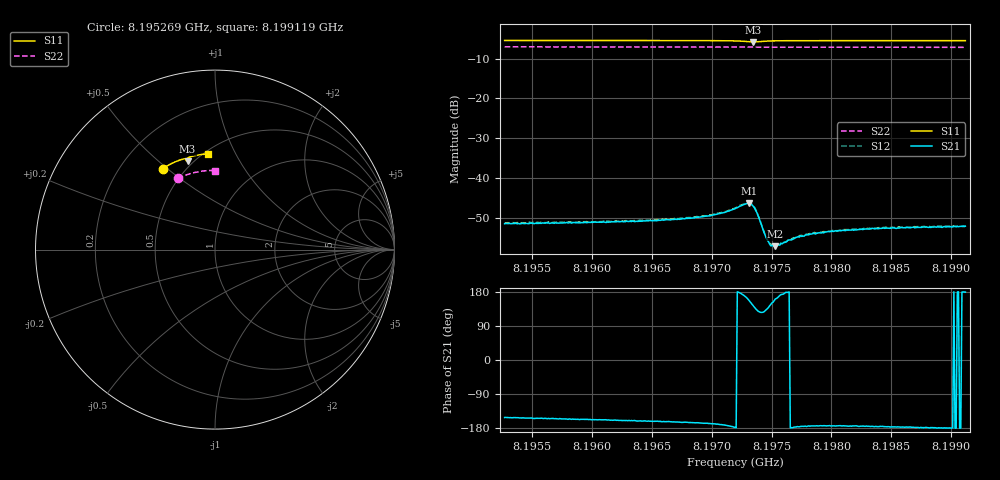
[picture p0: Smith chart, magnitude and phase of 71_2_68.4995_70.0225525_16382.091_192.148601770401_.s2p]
#  HZ  S  RI  R  50.00
! Rohde & Schwarz Vector Network Analyzer
! Rohde-Schwarz,ZNB20-2Port,1311601062101988,3.16
! Created: UTC 3/20/2024, 4:51:45 PM
! freq[Hz]  re:S11  im:S11  re:S21  im:S21  re:S12  im:S12  re:S22  im:S22
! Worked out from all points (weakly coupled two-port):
!   401 points, 8.195269 GHz to 8.199119 GHz, reference 50 ohm
!   highest |S21| = -46.41 dB at 8.19731 GHz (marker M1); lowest = -57.2 dB at 8.197531 GHz (marker M2)
!   lowest |S11| = -5.8 dB at 8.197348 GHz (marker M3), VSWR 3.13, Z = 23.4 + j31.3 ohm
!   |S11| at or under -10 dB: nowhere
!   |S22| runs from -7.1 to -7.0 dB; largest |S21 - S12| = 0.00025
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8.1952693e9  -0.292 0.4517  -0.00234 -0.00125  -0.00239 -0.0012  -0.2069 0.3963
8.1959141e9  -0.2521 0.4744  -0.00252 -0.00109  -0.00259 -0.00105  -0.1738 0.4107
8.1965589e9  -0.2099 0.4938  -0.00279 -0.000899  -0.00287 -0.000781  -0.1396 0.4225
8.1968188e9  -0.1916 0.5004  -0.00299 -0.000805  -0.00309 -0.0007  -0.1256 0.4264
8.1969824e9  -0.1793 0.5042  -0.00325 -0.000717  -0.00337 -0.00059  -0.1169 0.4285
8.1971075e9  -0.1687 0.5063  -0.00363 -0.000534  -0.00375 -0.000394  -0.1098 0.4301
8.1971941e9  -0.1601 0.5061  -0.00409 -0.000168  -0.00416 -7.28e-06  -0.105 0.4313
8.1972711e9  -0.1519 0.5019  -0.00455 0.000827  -0.00462 0.00102  -0.1008 0.4319
8.1973096e9  -0.1499 0.4968  -0.00442 0.00181  -0.0044 0.00201  -0.0986 0.4321
8.1973289e9  -0.1508 0.4941  -0.00404 0.0023  -0.00399 0.00251  -0.0976 0.4322
8.1973481e9  -0.153 0.4921  -0.00345 0.00267  -0.0034 0.00285  -0.0967 0.4323
8.197377e9  -0.1576 0.4922  -0.00245 0.00271  -0.00235 0.00287  -0.0953 0.4328
8.1974347e9  -0.161 0.4995  -0.00124 0.00167  -0.00125 0.00176  -0.0924 0.4334
8.1974636e9  -0.1599 0.5032  -0.00119 0.00118  -0.00112 0.00124  -0.0907 0.434
8.1974925e9  -0.1577 0.506  -0.00116 0.000773  -0.0012 0.000862  -0.0891 0.4343
8.1975117e9  -0.1562 0.5076  -0.00125 0.000655  -0.00124 0.000702  -0.088 0.4345
8.197531e9  -0.1545 0.509  -0.00131 0.000449  -0.00133 0.000542  -0.0869 0.4347
8.1977235e9  -0.1388 0.5165  -0.00182 -0.000119  -0.00182 -2.46e-05  -0.0761 0.4364
8.197839e9  -0.13 0.5192  -0.00197 -0.000209  -0.002 -0.000117  -0.0697 0.4374
8.1980988e9  -0.1108 0.5237  -0.00217 -0.000247  -0.00222 -0.000126  -0.0549 0.4389
8.1984838e9  -0.0833 0.5284  -0.00232 -0.000146  -0.00236 -6e-05  -0.0332 0.4404
8.199119e9  -0.0381 0.5331  -0.00246 4.1e-05  -0.00246 0.000145  0.00246 0.4405
